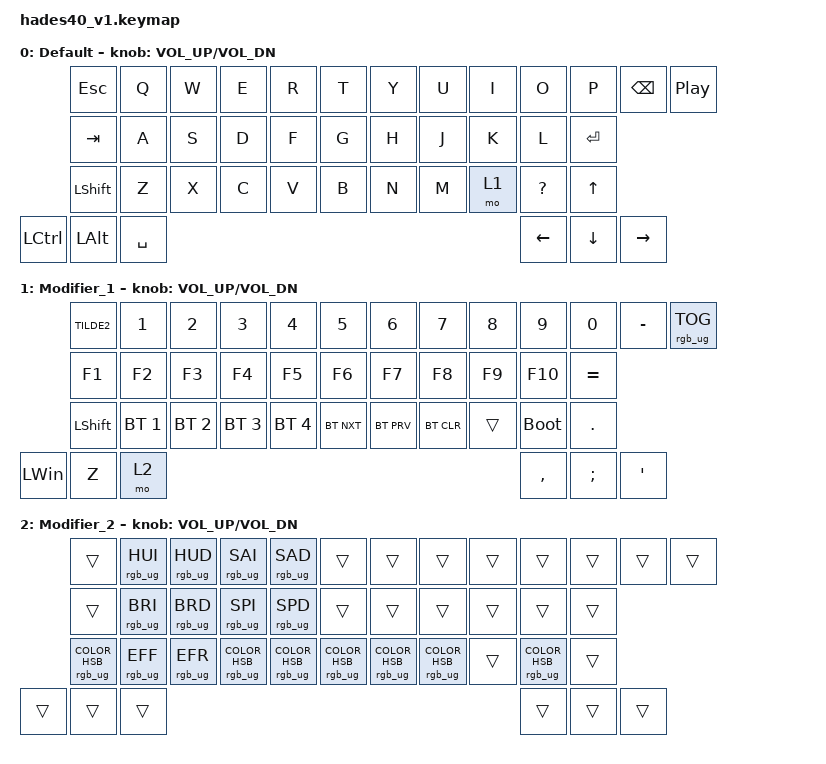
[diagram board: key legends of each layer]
/*
 * Copyright (c) 2020 The ZMK Contributors
 *
 * SPDX-License-Identifier: MIT
 */
/* THIS FILE WAS GENERATED!
 *
 * This file was generated automatically. You may or may not want to
 * edit it directly.
 */

#include <behaviors.dtsi>
#include <dt-bindings/zmk/keys.h>
#include <dt-bindings/zmk/rgb.h>
#include <dt-bindings/zmk/bt.h>

/ {
    keymap {
        compatible = "zmk,keymap";

        Default {
            bindings = <
          &kp ESC         &kp Q   &kp W   &kp E   &kp R      &kp T   &kp Y   &kp U     &kp I         &kp O      &kp P   &kp BSPC  &kp C_PLAY_PAUSE
          &kp TAB         &kp A   &kp S   &kp D   &kp F      &kp G   &kp H   &kp J     &kp K         &kp L  &kp ENTER
        &kp LSHFT         &kp Z   &kp X   &kp C   &kp V      &kp B   &kp N   &kp M     &mo 1  &kp QUESTION     &kp UP
 &kp LEFT_CONTROL  &kp LEFT_ALT                          &kp SPACE                  &kp LEFT                 &kp DOWN  &kp RIGHT
            >;

            sensor-bindings = <&inc_dec_kp C_VOL_UP C_VOL_DN>;
        };

        Modifier_1 {
            bindings = <
     &kp TILDE2  &kp NUMBER_1  &kp NUMBER_2  &kp NUMBER_3  &kp NUMBER_4  &kp NUMBER_5  &kp NUMBER_6  &kp NUMBER_7  &kp NUMBER_8  &kp NUMBER_9   &kp NUMBER_0       &kp MINUS  &rgb_ug RGB_TOG
         &kp F1        &kp F2        &kp F3        &kp F4        &kp F5        &kp F6        &kp F7        &kp F8        &kp F9       &kp F10      &kp EQUAL
 &kp LEFT_SHIFT  &bt BT_SEL 1  &bt BT_SEL 2  &bt BT_SEL 3  &bt BT_SEL 4    &bt BT_NXT    &bt BT_PRV    &bt BT_CLR        &trans   &bootloader        &kp DOT
   &kp LEFT_WIN         &kp Z                                                   &mo 2                                 &kp COMMA                &kp SEMICOLON  &kp APOSTROPHE
            >;

            sensor-bindings = <&inc_dec_kp C_VOL_UP C_VOL_DN>;
        };

        Modifier_2 {
            bindings = <
                         &trans  &rgb_ug RGB_HUI  &rgb_ug RGB_HUD                 &rgb_ug RGB_SAI                  &rgb_ug RGB_SAD                            &trans                            &trans                            &trans  &trans                            &trans  &trans  &trans  &trans
                         &trans  &rgb_ug RGB_BRI  &rgb_ug RGB_BRD                 &rgb_ug RGB_SPI                  &rgb_ug RGB_SPD                            &trans                            &trans                            &trans  &trans                            &trans  &trans
 &rgb_ug RGB_COLOR_HSB(0,30,97)  &rgb_ug RGB_EFF  &rgb_ug RGB_EFR  &rgb_ug RGB_COLOR_HSB(0,95,49)  &rgb_ug RGB_COLOR_HSB(52,97,49)  &rgb_ug RGB_COLOR_HSB(127,97,49)  &rgb_ug RGB_COLOR_HSB(180,98,49)  &rgb_ug RGB_COLOR_HSB(239,97,50)  &trans  &rgb_ug RGB_COLOR_HSB(296,97,49)  &trans
                         &trans           &trans                                                                                                              &trans                                                                      &trans                                    &trans  &trans
            >;

            sensor-bindings = <&inc_dec_kp C_VOL_UP C_VOL_DN>;
        };
    };
};
